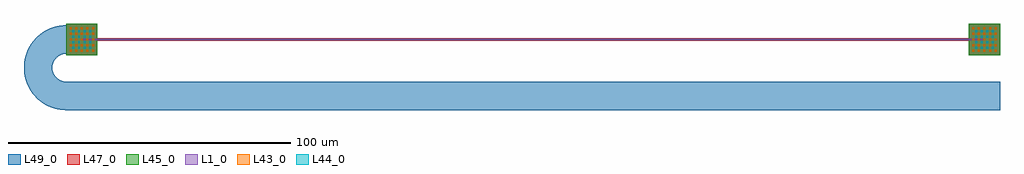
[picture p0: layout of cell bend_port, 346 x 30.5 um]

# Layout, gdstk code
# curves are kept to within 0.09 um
from math import pi, radians
import gdstk
lib = gdstk.Library(unit=1e-6, precision=1e-09)
def R(c, l, rs):  # rectangles x0, y0, x1, y1
    for r in rs: c.add(gdstk.rectangle(r[:2], r[2:], *l))
def P(c, l, *ps):  # polygons
    for p in ps: c.add(gdstk.Polygon(p, *l))
L1_0 = (1, 0)
L43_0 = (43, 0)
L44_0 = (44, 0)
L45_0 = (45, 0)
L47_0 = (47, 0)
L49_0 = (49, 0)

straight_cross_sections_ = lib.new_cell('straight_cross_sections_5cdefe79')
R(straight_cross_sections_, L1_0, [(0,-0.25,16,0.25)])
R(straight_cross_sections_, L47_0, [(0,-0.5,16,0.5)])

c_straight_cross_sections_ = lib.new_cell('straight_cross_sections_4d3b3ddd')
R(c_straight_cross_sections_, L1_0, [(0,-0.25,30,0.25)])
R(c_straight_cross_sections_, L47_0, [(0,-0.5,30,0.5)])

c_straight_cross_sections__ = lib.new_cell('straight_cross_sections_57c1e445')
R(c_straight_cross_sections__, L1_0, [(0,-0.25,6,0.25)])
R(c_straight_cross_sections__, L47_0, [(0,-0.5,6,0.5)])

component_sequence_sequ_ = lib.new_cell('component_sequence_sequ_c799560b')
component_sequence_sequ_.add(gdstk.Reference(straight_cross_sections_, (0,0)))
component_sequence_sequ_.add(gdstk.Reference(c_straight_cross_sections_, (16,0)))
component_sequence_sequ_.add(gdstk.Reference(c_straight_cross_sections__, (46,0)))
component_sequence_sequ_.add(gdstk.Reference(c_straight_cross_sections_, (52,0)))
component_sequence_sequ_.add(gdstk.Reference(c_straight_cross_sections__, (82,0)))
component_sequence_sequ_.add(gdstk.Reference(c_straight_cross_sections_, (88,0)))
component_sequence_sequ_.add(gdstk.Reference(c_straight_cross_sections__, (118,0)))
component_sequence_sequ_.add(gdstk.Reference(c_straight_cross_sections_, (124,0)))
component_sequence_sequ_.add(gdstk.Reference(c_straight_cross_sections__, (154,0)))
component_sequence_sequ_.add(gdstk.Reference(c_straight_cross_sections_, (160,0)))
component_sequence_sequ_.add(gdstk.Reference(c_straight_cross_sections__, (190,0)))
component_sequence_sequ_.add(gdstk.Reference(c_straight_cross_sections_, (196,0)))
component_sequence_sequ_.add(gdstk.Reference(c_straight_cross_sections__, (226,0)))
component_sequence_sequ_.add(gdstk.Reference(c_straight_cross_sections_, (232,0)))
component_sequence_sequ_.add(gdstk.Reference(c_straight_cross_sections__, (262,0)))
component_sequence_sequ_.add(gdstk.Reference(c_straight_cross_sections_, (268,0)))
component_sequence_sequ_.add(gdstk.Reference(c_straight_cross_sections__, (298,0)))
component_sequence_sequ_.add(gdstk.Reference(straight_cross_sections_, (304,0)))

rectangle_layer47_0_size = lib.new_cell('rectangle_layer47_0_size11_11')
R(rectangle_layer47_0_size, L47_0, [(0,0,11,11)])

compass_layer47_0_size11 = lib.new_cell('compass_layer47_0_size11_11')
compass_layer47_0_size11.add(gdstk.Reference(rectangle_layer47_0_size, (-5.5,-5.5)))

rectangle_layer45_0_size = lib.new_cell('rectangle_layer45_0_size11_11')
R(rectangle_layer45_0_size, L45_0, [(0,0,11,11)])

compass_layer45_0_size11 = lib.new_cell('compass_layer45_0_size11_11')
compass_layer45_0_size11.add(gdstk.Reference(rectangle_layer45_0_size, (-5.5,-5.5)))

rectangle_layer49_0_size = lib.new_cell('rectangle_layer49_0_size11_11')
R(rectangle_layer49_0_size, L49_0, [(0,0,11,11)])

compass_layer49_0_size11 = lib.new_cell('compass_layer49_0_size11_11')
compass_layer49_0_size11.add(gdstk.Reference(rectangle_layer49_0_size, (-5.5,-5.5)))

via_enclosure2_layer44_0 = lib.new_cell('via_enclosure2_layer44_0')
R(via_enclosure2_layer44_0, L44_0, [(-0.35,-0.35,0.35,0.35)])

via_layer43_0 = lib.new_cell('via_layer43_0')
R(via_layer43_0, L43_0, [(-0.35,-0.35,0.35,0.35)])

via_stack_layers47_0_45_ = lib.new_cell('via_stack_layers47_0_45_0a75706f')
via_stack_layers47_0_45_.add(gdstk.Reference(compass_layer47_0_size11, (0,0)))
via_stack_layers47_0_45_.add(gdstk.Reference(compass_layer45_0_size11, (0,0)))
via_stack_layers47_0_45_.add(gdstk.Reference(compass_layer49_0_size11, (0,0)))
r = gdstk.Reference(via_enclosure2_layer44_0, (-3,-3)); r.repetition = gdstk.Repetition(4, 4, v1=(2,0), v2=(0,2)); via_stack_layers47_0_45_.add(r)
r = gdstk.Reference(via_layer43_0, (-4,-4)); r.repetition = gdstk.Repetition(5, 5, v1=(2,0), v2=(0,2)); via_stack_layers47_0_45_.add(r)

straight_heater_metal_u_ = lib.new_cell('straight_heater_metal_u_5d466884')
straight_heater_metal_u_.add(gdstk.Reference(component_sequence_sequ_, (0,0)))
straight_heater_metal_u_.add(gdstk.Reference(via_stack_layers47_0_45_, (0,0)))
straight_heater_metal_u_.add(gdstk.Reference(via_stack_layers47_0_45_, (320,0)))

bend_circular_angle180__ = lib.new_cell('bend_circular_angle180__0c1d96b7')
P(bend_circular_angle180__, L49_0, [(0,-5),(2.87,-4.723),(5.634,-3.902),(8.19,-2.567),(10.537,-0.676),(12.385,1.537),(13.827,4.184),(14.684,6.937),(15,9.934),(14.735,12.806),(13.877,15.695),(12.531,18.245),(10.63,20.583),(8.408,22.422),(5.755,23.852),(2.87,24.723),(0,25),(0,15),(0.957,14.908),(1.878,14.634),(2.803,14.141),(3.512,13.559),(4.153,12.785),(4.592,11.979),(4.886,11.064),(5,10.066),(4.912,9.065),(4.626,8.102),(4.153,7.215),(3.574,6.503),(2.803,5.859),(1.959,5.4),(0.957,5.092),(0,5)])

straight_cross_sectionc_ = lib.new_cell('straight_cross_sectionc_2a58efcd')
R(straight_cross_sectionc_, L49_0, [(0,-5,331,5)])

bend_port = lib.new_cell('bend_port')
bend_port.add(gdstk.Reference(straight_heater_metal_u_, (0,0)))
bend_port.add(gdstk.Reference(bend_circular_angle180__, (-5.5,0), rotation=pi))
bend_port.add(gdstk.Reference(straight_cross_sectionc_, (325.5,-20), rotation=pi))

lib.write_gds('bend_port.gds')
